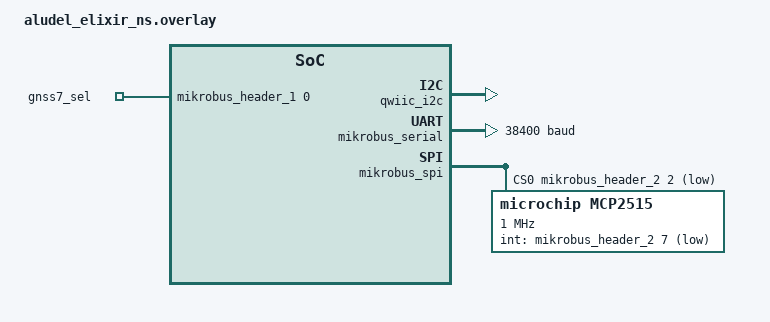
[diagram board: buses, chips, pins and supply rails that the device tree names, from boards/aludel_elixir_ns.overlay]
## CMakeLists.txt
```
# SPDX-License-Identifier: Apache-2.0

cmake_minimum_required(VERSION 3.20.0)

if((BOARD STREQUAL nrf9160dk_nrf9160) OR (BOARD STREQUAL nrf9160dk_nrf9160_ns))
  set(SHIELD "arduino_uno_click")
endif()

find_package(Zephyr REQUIRED HINTS $ENV{ZEPHYR_BASE})

project(can_asset_tracker)

include_directories(src/lib/inc)
add_compile_definitions(timegm=mktime)
target_sources(app PRIVATE src/lib/minmea/minmea.c)

target_sources(app PRIVATE src/main.c)
target_sources(app PRIVATE src/app_rpc.c)
target_sources(app PRIVATE src/app_settings.c)
target_sources(app PRIVATE src/app_state.c)
target_sources(app PRIVATE src/app_sensors.c)
target_sources(app PRIVATE src/app_wdt.c)

add_subdirectory_ifdef(CONFIG_ALUDEL_BATTERY_MONITOR src/battery_monitor)
```

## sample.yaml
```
# SPDX-License-Identifier: Apache-2.0

sample:
  description: Golioth Reference Design - CAN Asset Tracker
  name: can_asset_tracker
common:
  harness: net
  platform_allow: >
    nrf9160dk_nrf9160_ns
  tags: golioth
```

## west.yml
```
# SPDX-License-Identifier: Apache-2.0

manifest:
  version: 0.8

  projects:
    - name: golioth
      path: modules/lib/golioth-firmware-sdk
      revision: v0.14.0
      url: https://github.com/golioth/golioth-firmware-sdk.git
      west-commands: scripts/west-commands.yml
      submodules: true
      import:
        file: west-ncs.yml
        path-prefix: deps
        name-allowlist:
          - nrf
          - zephyr
          - cmsis
          - hal_nordic
          - mbedtls
          - mbedtls-nrf
          - mcuboot
          - net-tools
          - nrfxlib
          - segger
          - qcbor
          - tfm-mcuboot
          - tinycrypt
          - trusted-firmware-m
          - zcbor

    - name: golioth-zephyr-boards
      path: deps/modules/lib/golioth-boards
      revision: v1.1.1
      url: https://github.com/golioth/golioth-zephyr-boards

    - name: libostentus
      path: deps/modules/lib/libostentus
      revision: v1.0.0
      url: https://github.com/golioth/libostentus

    - name: zephyr-network-info
      path: deps/modules/lib/network-info
      revision: v1.1.1
      url: https://github.com/golioth/zephyr-network-info

    - name: minmea
      path: app/src/lib/minmea
      revision: 85439b97dd4984c5efb84ce954b85088e781dae8
      url: https://github.com/kosma/minmea.git

  self:
    path: app
```

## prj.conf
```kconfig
# Copyright (c) 2024 Modz, Inc.
# SPDX-License-Identifier: Apache-2.0

# Enable Golioth Firmware SDK
CONFIG_GOLIOTH_FIRMWARE_SDK=y

# Golioth services used in this app
CONFIG_GOLIOTH_FW_UPDATE=y
CONFIG_GOLIOTH_LIGHTDB_STATE=y
CONFIG_LOG_BACKEND_GOLIOTH=y
CONFIG_GOLIOTH_RPC=y
CONFIG_GOLIOTH_SETTINGS=y
CONFIG_GOLIOTH_STREAM=y

# Prevent a "loop of doom" issue on marginal/flaky LTE connections causing
# repeated "Resending request" warning log messages to be sent.
CONFIG_GOLIOTH_LOG_LEVEL_ERR=n

# Enable common sample library
CONFIG_GOLIOTH_SAMPLE_COMMON=y

# Configure Golioth SDK dependencies
CONFIG_EVENTFD_MAX=14
CONFIG_LOG_PROCESS_THREAD_STACK_SIZE=1536
CONFIG_MBEDTLS_ENABLE_HEAP=y
CONFIG_MBEDTLS_HEAP_SIZE=10240
CONFIG_MBEDTLS_SSL_IN_CONTENT_LEN=2048
CONFIG_MBEDTLS_SSL_OUT_CONTENT_LEN=2048
CONFIG_NETWORKING=y
CONFIG_NET_IPV4=y
CONFIG_POSIX_MAX_FDS=23

# Application
CONFIG_MAIN_STACK_SIZE=2048
CONFIG_SYSTEM_WORKQUEUE_STACK_SIZE=2048
CONFIG_NET_LOG=n
CONFIG_NET_SHELL=y
CONFIG_REBOOT=y

# Flash memory (etc.) for firmware upgrade
CONFIG_FLASH=y
CONFIG_FLASH_MAP=y
CONFIG_NVS=y
CONFIG_STREAM_FLASH=y
CONFIG_IMG_MANAGER=y
CONFIG_IMG_ERASE_PROGRESSIVELY=y
CONFIG_REBOOT=y

# Watchdog
CONFIG_WDT_LOG_LEVEL_DBG=y
CONFIG_WATCHDOG=y
CONFIG_WDT_DISABLE_AT_BOOT=n

# The rest of the runtime credentials config
#CONFIG_SETTINGS=y
#CONFIG_SETTINGS_RUNTIME=y

# Golioth Credentials
#CONFIG_GOLIOTH_PSK_MAX_LEN=128
CONFIG_GOLIOTH_SAMPLE_SETTINGS=n
CONFIG_GOLIOTH_SAMPLE_AUTH_TYPE_PSK=y
CONFIG_GOLIOTH_SAMPLE_HARDCODED_CREDENTIALS=y
CONFIG_GOLIOTH_SAMPLE_SETTINGS_AUTOLOAD=y
CONFIG_GOLIOTH_SAMPLE_SETTINGS_SHELL=y
CONFIG_GOLIOTH_SAMPLE_PSK_SETTINGS=y
CONFIG_GOLIOTH_SAMPLE_PSK_MAX_LEN=64
CONFIG_GOLIOTH_SAMPLE_PSK_ID_MAX_LEN=64
CONFIG_GOLIOTH_SAMPLE_PSK_ID="20241018190738-nrf9016@nordic_demo"
CONFIG_GOLIOTH_SAMPLE_PSK="b97d91cc08619fb72584b9858b40fad4"


CONFIG_GOLIOTH_AUTO_LOG_TO_CLOUD=y
CONFIG_GOLIOTH_COAP_REQUEST_QUEUE_MAX_ITEMS=20

CONFIG_MODEM_INFO=y
#CONFIG_MODEM_CELLULAR_APN="vzwinternet"


# Misc.
CONFIG_JSON_LIBRARY=y
CONFIG_NETWORK_INFO=y
# Longer response length needed for network info
CONFIG_GOLIOTH_RPC_MAX_RESPONSE_LEN=512
CONFIG_I2C=y
CONFIG_GPIO=y

# CAN interface
CONFIG_SERIAL=y
CONFIG_UART_INTERRUPT_DRIVEN=y
CONFIG_CAN=y

# Logging
CONFIG_LOG=y
CONFIG_LOG_BUFFER_SIZE=1024
CONFIG_LOG_DEFAULT_LEVEL=3
#CONFIG_CAN_LOG_LEVEL_DBG=y
#CONFIG_LTE_LINK_CONTROL_LOG_LEVEL_DBG=y

# Firmware version used in DFU process
CONFIG_MCUBOOT_IMGTOOL_SIGN_VERSION="1.7.0"
```

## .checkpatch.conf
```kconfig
# SPDX-License-Identifier: Apache-2.0

--emacs
--summary-file
--show-types
--max-line-length=100
--min-conf-desc-length=1
--typedefsfile=../deps/zephyr/scripts/checkpatch/typedefsfile

--ignore BRACES
--ignore PRINTK_WITHOUT_KERN_LEVEL
--ignore SPLIT_STRING
--ignore VOLATILE
--ignore CONFIG_EXPERIMENTAL
--ignore PREFER_KERNEL_TYPES
--ignore PREFER_SECTION
--ignore AVOID_EXTERNS
--ignore NETWORKING_BLOCK_COMMENT_STYLE
--ignore DATE_TIME
--ignore MINMAX
--ignore CONST_STRUCT
--ignore FILE_PATH_CHANGES
--ignore SPDX_LICENSE_TAG
--ignore C99_COMMENT_TOLERANCE
--ignore REPEATED_WORD
--ignore UNDOCUMENTED_DT_STRING
--ignore DT_SPLIT_BINDING_PATCH
--ignore DT_SCHEMA_BINDING_PATCH
--ignore TRAILING_SEMICOLON
--ignore COMPLEX_MACRO
--ignore MULTISTATEMENT_MACRO_USE_DO_WHILE
--ignore ENOSYS

--no-tree
--exclude patches
```

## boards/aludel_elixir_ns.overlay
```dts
/*
 * Copyright (c) 2024 Golioth, Inc.
 *
 * SPDX-License-Identifier: Apache-2.0
 */

/ {
	chosen {
		zephyr,canbus = &mcp2515;
	};

	aliases {
		gnss7-sel = &gnss7_sel;
		click-uart = &mikrobus_serial;
	};

	gpio_logic {
		compatible = "gpio-leds";
		gnss7_sel: gnss7_sel {
			gpios = <&mikrobus_header_1 0 GPIO_ACTIVE_HIGH>; /* AN */
		};
	};
};

&qwiic_i2c {
	status = "okay";
};

&mikrobus_serial {
	status = "okay";
	current-speed = <38400>;
};

&mikrobus_spi {
	status = "okay";
	cs-gpios = <&mikrobus_header_2 2 GPIO_ACTIVE_LOW>;	/* CS */

	mcp2515: mcp2515@0 {
		compatible = "microchip,mcp2515";
		spi-max-frequency = <1000000>;
		int-gpios = <&mikrobus_header_2 7 GPIO_ACTIVE_LOW>; /* INT */
		status = "okay";
		reg = <0x0>;
		osc-freq = <10000000>;
		bus-speed = <250000>;
		sjw = <1>;
		sample-point = <875>;

		can-transceiver {
			max-bitrate = <1000000>;
		};
	};
};
```

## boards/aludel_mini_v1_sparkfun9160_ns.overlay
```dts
/*
 * Copyright (c) 2024 Golioth, Inc.
 *
 * SPDX-License-Identifier: Apache-2.0
 */

/ {
	chosen {
		zephyr,canbus = &mcp2515;
	};

	aliases {
		gnss7-sel = &gnss7_sel;
	};

	gpio_logic {
		compatible = "gpio-leds";
		gnss7_sel: gnss7_sel {
			gpios = <&mikrobus_header_1 0 GPIO_ACTIVE_HIGH>; /* AN */
		};
	};
};

&mikrobus_serial {
	status = "okay";
	current-speed = <38400>;
};

/*
 * In the devicetree definition for this board, the SPI bus on the Aludel Click
 * headers is connected to the SPI2 peripheral on the nRF9160. However, the
 * nRF9160 has a limitation that any peripherals sharing an ID and base address
 * may not be used simultaneously. Since the GPS Click module is using the
 * UART2 peripheral, the SPI2 peripheral cannot be used at the same time to
 * interface with the MCP2515 controller on the CAN Click board.
 *
 * As a workaround, we can disable the SPI2 peripheral and remap the SPI pins on
 * the Click headers to the SPI3 peripheral instead. However, the SPI3
 * peripheral is connected to the external W25Q32JV NOR flash on this board.
 * Since we're not using the external NOR flash in this reference design, we
 * can simply delete the w25q32jv node from the devicetree to free up the SPI3
 * peripheral to be remapped to the Click header pins.
 */

&spi2 {
	status = "disabled";
};

/delete-node/ &w25q32jv;

&spi3 {
	cs-gpios = <&mikrobus_header_2 2 GPIO_ACTIVE_LOW>; /* CS */

	mcp2515: mcp2515@0 {
		compatible = "microchip,mcp2515";
		spi-max-frequency = <1000000>;
		int-gpios = <&mikrobus_header_2 7 GPIO_ACTIVE_LOW>; /* INT */
		status = "okay";
		reg = <0x0>;
		osc-freq = <10000000>;
		bus-speed = <250000>;
		sjw = <1>;
		sample-point = <875>;

		can-transceiver {
			max-bitrate = <1000000>;
		};
	};
};

&pinctrl {
	spi3_default: spi3_default {
		group1 {
			psels = <NRF_PSEL(SPIM_SCK, 0, 19)>,
				<NRF_PSEL(SPIM_MOSI, 0, 21)>,
				<NRF_PSEL(SPIM_MISO, 0, 22)>;
		};
	};

	spi3_sleep: spi3_sleep {
		group1 {
			psels = <NRF_PSEL(SPIM_SCK, 0, 19)>,
				<NRF_PSEL(SPIM_MOSI, 0, 21)>,
				<NRF_PSEL(SPIM_MISO, 0, 22)>;
			low-power-enable;
		};
	};
};
```

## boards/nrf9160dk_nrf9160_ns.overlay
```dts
/*
 * Copyright (c) 2024 Golioth, Inc.
 *
 * SPDX-License-Identifier: Apache-2.0
 */

/ {
	chosen {
		zephyr,canbus = &mcp2515;
	};

	aliases {
		golioth-led = &led2;
		click-uart = &arduino_serial;
		gnss7-sel = &gnss7_sel;
	};

	gpio_logic {
		compatible = "gpio-leds";
		gnss7_sel: gnss7_sel {
			gpios = <&mikrobus_header_2 0 GPIO_ACTIVE_HIGH>; /* AN */
		};
	};
};

&mikrobus_serial {
	status = "okay";
	current-speed = <38400>;
};

&mikrobus_spi {
	status = "okay";
	cs-gpios = <&mikrobus_header_1 2 GPIO_ACTIVE_LOW>; /* CS */

	mcp2515: mcp2515@0 {
		compatible = "microchip,mcp2515";
		spi-max-frequency = <1000000>;
		int-gpios = <&mikrobus_header_1 7 GPIO_ACTIVE_LOW>; /* INT */
		status = "okay";
		reg = <0x0>;
		osc-freq = <10000000>;
		bus-speed = <250000>;
		sjw = <1>;
		sample-point = <875>;

		can-transceiver {
			max-bitrate = <1000000>;
		};
	};
};

&pinctrl {
	/*
	 * Arduino Uno provides the same SCL/SDA on two sets of pins, but the
	 * nRF9160-DK maps these pins to two different pairs of GPIO. When using
	 * the Arduino Uno Click Shield board, the P0.18/P0.19 pair must be used.
	 */
	i2c2_default: i2c2_default {
		group1 {
			psels = <NRF_PSEL(TWIM_SDA, 0, 18)>,
				<NRF_PSEL(TWIM_SCL, 0, 19)>;
		};
	};

	i2c2_sleep: i2c2_sleep {
		group1 {
			psels = <NRF_PSEL(TWIM_SDA, 0, 18)>,
				<NRF_PSEL(TWIM_SCL, 0, 19)>;
			low-power-enable;
		};
	};

	/*
	 * The default pin group includes RTS/CTS HW flow control, but the Arduino
	 * Uno Click Shield board does not connect these pins (only TX/RX are used).
	 * This keeps RX/TX on the same pins, but just removes RTS/CTS from the
	 * pin groups.
	 */
	uart1_default: uart1_default {
		group1 {
			psels = <NRF_PSEL(UART_TX, 0, 1)>,
				<NRF_PSEL(UART_RX, 0, 0)>;
		};
	};

	uart1_sleep: uart1_sleep {
		group1 {
			psels = <NRF_PSEL(UART_TX, 0, 1)>,
				<NRF_PSEL(UART_RX, 0, 0)>;
			low-power-enable;
		};
	};
};
```

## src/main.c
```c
/* Copyright (c) 2024 Modz, Inc.
 *
 * SPDX-License-Identifier: Apache-2.0
 */

#include <zephyr/logging/log.h>
LOG_MODULE_REGISTER(golioth_can_asset_tracker, LOG_LEVEL_DBG);

#include "app_rpc.h"
#include "app_settings.h"
#include "app_state.h"
#include "app_sensors.h"
#include "app_wdt.h"
#include <golioth/client.h>
#include <golioth/fw_update.h>
#include <samples/common/net_connect.h>
#include <samples/common/sample_credentials.h>
#include <zephyr/kernel.h>
#include <hal/nrf_power.h>


#ifdef CONFIG_SOC_NRF9160
#include <modem/lte_lc.h>
#endif
#ifdef CONFIG_LIB_OSTENTUS
#include <libostentus.h>
#endif
#ifdef CONFIG_ALUDEL_BATTERY_MONITOR
#include "battery_monitor/battery.h"
#endif

#include <zephyr/drivers/gpio.h>

#ifdef CONFIG_MODEM_INFO
#include <modem/modem_info.h>
#endif

/* Current firmware version; update in prj.conf or via build argument */
static const char *_current_version = CONFIG_MCUBOOT_IMGTOOL_SIGN_VERSION;

static struct golioth_client *client;
K_SEM_DEFINE(connected, 0, 1);

static k_tid_t _system_thread = 0;

#if DT_NODE_EXISTS(DT_ALIAS(golioth_led))
static const struct gpio_dt_spec golioth_led = GPIO_DT_SPEC_GET(DT_ALIAS(golioth_led), gpios);
#endif /* DT_NODE_EXISTS(DT_ALIAS(golioth_led)) */
static const struct gpio_dt_spec user_btn = GPIO_DT_SPEC_GET(DT_ALIAS(sw1), gpios);
static struct gpio_callback button_cb_data;

/* forward declarations */
void golioth_connection_led_set(uint8_t state);

void wake_system_thread(void)
{
	k_wakeup(_system_thread);
}

static void on_client_event(struct golioth_client *client, enum golioth_client_event event,
			    void *arg)
{
	bool is_connected = (event == GOLIOTH_CLIENT_EVENT_CONNECTED);

	if (is_connected) {
		k_sem_give(&connected);
		golioth_connection_led_set(1);
	}
	LOG_INF("Golioth client %s", is_connected ? "connected" : "disconnected");
}

static void start_golioth_client(void)
{
	/* Get the client configuration from auto-loaded settings */
	const struct golioth_client_config *client_config = golioth_sample_credentials_get();

	/* Create and start a Golioth Client */
	client = golioth_client_create(client_config);

	/* Register Golioth on_connect callback */
	golioth_client_register_event_callback(client, on_client_event, NULL);

	/* Initialize DFU components */
	golioth_fw_update_init(client, _current_version);

	/*** Call Golioth APIs for other services in dedicated app files ***/

	/* Observe State service data */
	app_state_observe(client);

	/* Set Golioth Client for streaming sensor data */
	app_sensors_set_client(client);

	/* Register Settings service */
	app_settings_register(client);

	/* Register RPC service */
	app_rpc_register(client);
}

#ifdef CONFIG_SOC_NRF9160

static void lte_handler(const struct lte_lc_evt *const evt)
{
	LOG_INF("LTE event: %d", evt->type);
	switch (evt->type) {
	case LTE_LC_EVT_MODEM_EVENT:
		LOG_INF("Modem event: %d", evt->modem_evt);
		break;

	case LTE_LC_EVT_LTE_MODE_UPDATE:
		LOG_INF("LTE mode update: %d", evt->lte_mode);
		break;

	case LTE_LC_EVT_NW_REG_STATUS:
		LOG_INF("Network registration status: %d", evt->nw_reg_status);
		if ((evt->nw_reg_status == LTE_LC_NW_REG_REGISTERED_HOME) ||
		    (evt->nw_reg_status == LTE_LC_NW_REG_REGISTERED_ROAMING)) {

			/* Change the state of the Internet LED on Ostentus */
			IF_ENABLED(CONFIG_LIB_OSTENTUS, (led_internet_set(1);));

			if (!client) {
				/* Create and start a Golioth Client */
				start_golioth_client();
			}
		}
		break;

	default:
		break;
	}
}

#endif /* CONFIG_SOC_NRF9160 */

#ifdef CONFIG_MODEM_INFO
static void log_modem_firmware_version(void)
{
	char sbuf[128];

	/* Initialize modem info */
	int err = modem_info_init();

	if (err) {
		LOG_ERR("Failed to initialize modem info: %d", err);
	}

	/* Log modem firmware version */
	modem_info_string_get(MODEM_INFO_FW_VERSION, sbuf, sizeof(sbuf));
	LOG_INF("Modem firmware version: %s", sbuf);
}
#endif

void button_pressed(const struct device *dev, struct gpio_callback *cb, uint32_t pins)
{
	LOG_DBG("Button pressed at %d", k_cycle_get_32());
	/* This function is an Interrupt Service Routine. Do not call functions that
	 * use other threads, or perform long-running operations here
	 */
	k_wakeup(_system_thread);
}


/* Set (unset) LED indicators for active Golioth connection */
void golioth_connection_led_set(uint8_t state)
{
	uint8_t pin_state = state ? 1 : 0;
#if DT_NODE_EXISTS(DT_ALIAS(golioth_led))
	/* Turn on Golioth logo LED once connected */
	gpio_pin_set_dt(&golioth_led, pin_state);
#endif /* DT_NODE_EXISTS(DT_ALIAS(golioth_led)) */
	/* Change the state of the Golioth LED on Ostentus */
	IF_ENABLED(CONFIG_LIB_OSTENTUS, (led_golioth_set(pin_state);));
}

int main(void)
{
	int err;

	/*uint32_t reset_reason = nrf_power_resetreas_get(NRF_POWER);
	LOG_WRN("Reboot reason: %ld", reset_reason);
	if (reset_reason & NRF_POWER_RESETREAS_DOG_MASK ) {
		LOG_WRN("Wake up by DOG field detect\n");
	} else if (reset_reason & NRF_POWER_RESETREAS_RESETPIN_MASK) {
		LOG_WRN("Reset by pin-reset\n");
	} else if (reset_reason & NRF_POWER_RESETREAS_SREQ_MASK) {
		LOG_WRN("Reset by soft-reset\n");
	} else if (reset_reason & NRF_POWER_RESETREAS_LOCKUP_MASK ) {
		LOG_WRN("Reset by lockup\n");
	} else if (reset_reason) {
		LOG_WRN("Reset by a different source (0x%08X)\n", reset_reason);
	} else {
		LOG_WRN("Power-on-reset\n");
	}
	nrf_power_resetreas_clear(NRF_POWER, reset_reason);*/

	/* Initialize watchdog */
	app_wdt_init();

	/* Initialize sensors */
	app_sensors_init();

	LOG_DBG("Started CAN Asset Tracker app");

	LOG_INF("Firmware version: %s", CONFIG_MCUBOOT_IMGTOOL_SIGN_VERSION);
	IF_ENABLED(CONFIG_MODEM_INFO, (log_modem_firmware_version();));

	IF_ENABLED(CONFIG_LIB_OSTENTUS, (
		/* Clear Ostentus memory */
		clear_memory();
		/* Update Ostentus LEDS using bitmask (Power On and Battery) */
		led_bitmask(LED_POW | LED_BAT);
		/* Show Golioth Logo on Ostentus ePaper screen */
		show_splash();
	));

	/* Get system thread id so loop delay change event can wake main */
	_system_thread = k_current_get();

#if DT_NODE_EXISTS(DT_ALIAS(golioth_led))
	/* Initialize Golioth logo LED */
	err = gpio_pin_configure_dt(&golioth_led, GPIO_OUTPUT_INACTIVE);
	if (err) {
		LOG_ERR("Unable to configure LED for Golioth Logo");
	}
#endif /* DT_NODE_EXISTS(DT_ALIAS(golioth_led)) */

#ifdef CONFIG_SOC_NRF9160
	/* Start LTE asynchronously if the nRF9160 is used.
	 * Golioth Client will start automatically when LTE connects
	 */

	LOG_INF("Connecting to LTE, this may take some time...");
	lte_lc_init_and_connect_async(lte_handler);

#else
	/* If nRF9160 is not used, start the Golioth Client and block until connected */

	/* Run WiFi/DHCP if necessary */
	if (IS_ENABLED(CONFIG_GOLIOTH_SAMPLE_COMMON)) {
		net_connect();
	}

	/* Start Golioth client */
	start_golioth_client();

#endif /* CONFIG_SOC_NRF9160 */

	/* Block until connected to Golioth */
	k_sem_take(&connected, K_FOREVER);
	/* Set up user button */
	err = gpio_pin_configure_dt(&user_btn, GPIO_INPUT);
	if (err) {
		LOG_ERR("Error %d: failed to configure %s pin %d", err, user_btn.port->name,
			user_btn.pin);
		return err;
	}

	err = gpio_pin_interrupt_configure_dt(&user_btn, GPIO_INT_EDGE_TO_ACTIVE);
	if (err) {
		LOG_ERR("Error %d: failed to configure interrupt on %s pin %d", err,
			user_btn.port->name, user_btn.pin);
		return err;
	}

	gpio_init_callback(&button_cb_data, button_pressed, BIT(user_btn.pin));
	gpio_add_callback(user_btn.port, &button_cb_data);

	IF_ENABLED(CONFIG_LIB_OSTENTUS, (
		/* Set up a slideshow on Ostentus
		 *  - add up to 256 slides
		 *  - use the enum in app_sensors.h to add new keys
		 *  - values are updated using these keys (see app_sensors.c)
		 */
		slide_add(LATITUDE, LABEL_LATITUDE, strlen(LABEL_LATITUDE));
		slide_add(LONGITUDE, LABEL_LONGITUDE, strlen(LABEL_LONGITUDE));
		slide_add(VEHICLE_SPEED, LABEL_VEHICLE_SPEED, strlen(LABEL_VEHICLE_SPEED));
		IF_ENABLED(CONFIG_ALUDEL_BATTERY_MONITOR, (
			slide_add(BATTERY_V, LABEL_BATTERY, strlen(LABEL_BATTERY));
			slide_add(BATTERY_LVL, LABEL_BATTERY, strlen(LABEL_BATTERY));
		));
		slide_add(FIRMWARE, LABEL_FIRMWARE, strlen(LABEL_FIRMWARE));

		/* Set the title of the Ostentus summary slide (optional) */
		summary_title(SUMMARY_TITLE, strlen(SUMMARY_TITLE));

		/* Update the Firmware slide with the firmware version */
		slide_set(FIRMWARE, CONFIG_MCUBOOT_IMGTOOL_SIGN_VERSION,
			  strlen(CONFIG_MCUBOOT_IMGTOOL_SIGN_VERSION));

		/* Start Ostentus slideshow with 30 second delay between slides */
		slideshow(30000);
	));

	while (true) {
		app_sensors_read_and_stream();
		app_wdt_feed();

		k_sleep(K_SECONDS(get_loop_delay_s()));
	}
}
```

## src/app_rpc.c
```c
/*
 * Copyright (c) 2024 Modz Inc.
 *
 * SPDX-License-Identifier: Apache-2.0
 */

#include <zephyr/logging/log.h>
#include <zephyr/logging/log_ctrl.h>
LOG_MODULE_REGISTER(app_rpc, LOG_LEVEL_DBG);

#include <golioth/client.h>
#include <golioth/rpc.h>
#include <zephyr/sys/reboot.h>

#include <network_info.h>
#include "app_rpc.h"

static void reboot_work_handler(struct k_work *work)
{
	for (int8_t i = 5; i >= 0; i--) {
		if (i) {
			LOG_INF("Rebooting in %d seconds...", i);
		}
		k_sleep(K_SECONDS(1));
	}

	/* Sync logs before reboot */
	LOG_PANIC();

	sys_reboot(SYS_REBOOT_COLD);
}
K_WORK_DEFINE(reboot_work, reboot_work_handler);

static enum golioth_rpc_status on_get_network_info(zcbor_state_t *request_params_array,
						   zcbor_state_t *response_detail_map,
						   void *callback_arg)
{
	network_info_add_to_map(response_detail_map);

	return GOLIOTH_RPC_OK;
}

static enum golioth_rpc_status on_set_log_level(zcbor_state_t *request_params_array,
						zcbor_state_t *response_detail_map,
						void *callback_arg)
{
	double param_0;
	uint8_t log_level;
	bool ok;

	LOG_WRN("on_set_log_level");

	ok = zcbor_float_decode(request_params_array, &param_0);
	if (!ok) {
		LOG_ERR("Failed to decode array item");
		return GOLIOTH_RPC_INVALID_ARGUMENT;
	}

	log_level = (uint8_t)param_0;

	if ((log_level < 0) || (log_level > LOG_LEVEL_DBG)) {

		LOG_ERR("Requested log level is out of bounds: %d", log_level);
		return GOLIOTH_RPC_INVALID_ARGUMENT;
	}

	int source_id = 0;
	char *source_name;

	while (1) {
		source_name = (char *)log_source_name_get(0, source_id);
		if (source_name == NULL) {
			break;
		}

		log_filter_set(NULL, 0, source_id, log_level);
		++source_id;
	}

	LOG_WRN("Log levels for %d modules set to: %d", source_id, log_level);

	ok = zcbor_tstr_put_lit(response_detail_map, "log_modules") &&
	     zcbor_float64_put(response_detail_map, (double)source_id);

	return GOLIOTH_RPC_OK;
}

static enum golioth_rpc_status on_reboot(zcbor_state_t *request_params_array,
					 zcbor_state_t *response_detail_map,
					 void *callback_arg)
{
	/* Use work queue so this RPC can return confirmation to Golioth */
	k_work_submit(&reboot_work);

	return GOLIOTH_RPC_OK;
}

static void rpc_log_if_register_failure(int err)
{
	if (err) {
		LOG_ERR("Failed to register RPC: %d", err);
	}
}

void app_rpc_register(struct golioth_client *client)
{
	struct golioth_rpc *rpc = golioth_rpc_init(client);

	int err;

	err = golioth_rpc_register(rpc, "get_network_info", on_get_network_info, NULL);
	rpc_log_if_register_failure(err);

	err = golioth_rpc_register(rpc, "reboot", on_reboot, NULL);
	rpc_log_if_register_failure(err);

	err = golioth_rpc_register(rpc, "set_log_level", on_set_log_level, NULL);
	rpc_log_if_register_failure(err);
}
```

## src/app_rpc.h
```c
/*
 * Copyright (c) 2024 Modz, Inc.
 *
 * SPDX-License-Identifier: Apache-2.0
 */

/**
 * Handle remote procedure calls received from Golioth, returning a status code
 * indicating the success or failure of the call.
 *
 * https://docs.golioth.io/firmware/zephyr-device-sdk/remote-procedure-call
 */

#ifndef __APP_RPC_H__
#define __APP_RPC_H__

#include <golioth/client.h>

void app_rpc_register(struct golioth_client *client);

#endif /* __APP_RPC_H__ */
```

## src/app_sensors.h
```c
/*
 * Copyright (c) 2024 Modz, Inc.
 *
 * SPDX-License-Identifier: Apache-2.0
 */

#ifndef __APP_SENSORS_H__
#define __APP_SENSORS_H__

/** The `app_sensors.c` file performs the important work of this application
 * which is to read sensor values and report them to the Golioth LightDB Stream
 * as time-series data.
 *
 * https://docs.golioth.io/firmware/zephyr-device-sdk/light-db-stream/
 */

#include <golioth/client.h>

void app_sensors_set_client(struct golioth_client *sensors_client);
void app_sensors_read_and_stream(void);
void app_sensors_init(void);

#define LABEL_LATITUDE	    "Latitude"
#define LABEL_LONGITUDE	    "Longitude"
#define LABEL_VEHICLE_SPEED "Speed"
#define LABEL_BATTERY	    "Battery"
#define LABEL_FIRMWARE	    "Firmware"
#define SUMMARY_TITLE	    "Asset Tracker"

/**
 * Each Ostentus slide needs a unique key. You may add additional slides by
 * inserting elements with the name of your choice to this enum.
 */
typedef enum {
	LATITUDE,
	LONGITUDE,
	VEHICLE_SPEED,
#ifdef CONFIG_ALUDEL_BATTERY_MONITOR
	BATTERY_V,
	BATTERY_LVL,
#endif
	FIRMWARE
} slide_key;

#endif /* __APP_SENSORS_H__ */
```

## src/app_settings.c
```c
/*
 * Copyright (c) 2024 Modz, Inc.
 *
 * SPDX-License-Identifier: Apache-2.0
 */

#include <zephyr/logging/log.h>
LOG_MODULE_REGISTER(app_settings, LOG_LEVEL_DBG);

#include <golioth/client.h>
#include <golioth/settings.h>
#include "main.h"
#include "app_settings.h"

/* How long to wait between uploading to Golioth */
static int32_t _loop_delay_s = 5;
#define LOOP_DELAY_S_MAX 43200
#define LOOP_DELAY_S_MIN 0

/* How long to wait between GPS readings */
static int32_t _gps_delay_s = 3;
#define GPS_DELAY_S_MAX 43200
#define GPS_DELAY_S_MIN 0

/* Fake GPS control */
static bool _fake_gps_enabled_s;

/* Fake GPS latitude value */
static float _fake_gps_latitude_s = 37.789980;
#define FAKE_GPS_LATITUDE_S_MAX 90.0
#define FAKE_GPS_LATITUDE_S_MIN -90.0

/* Fake GPS longitude value */
static float _fake_gps_longitude_s = -122.400860;
#define FAKE_GPS_LONGITUDE_S_MAX 180.0
#define FAKE_GPS_LONGITUDE_S_MIN -180.0

/* How long to wait between vehicle speed readings */
static int32_t _vehicle_speed_delay_s = 1;
#define VEHICLE_SPEED_DELAY_S_MAX 43200
#define VEHICLE_SPEED_DELAY_S_MIN 0

int32_t get_loop_delay_s(void)
{
	return _loop_delay_s;
}

int32_t get_gps_delay_s(void)
{
	return _gps_delay_s;
}

bool get_fake_gps_enabled_s(void)
{
	return _fake_gps_enabled_s;
}

float get_fake_gps_latitude_s(void)
{
	return _fake_gps_latitude_s;
}

float get_fake_gps_longitude_s(void)
{
	return _fake_gps_longitude_s;
}

int32_t get_vehicle_speed_delay_s(void)
{
	return _vehicle_speed_delay_s;
}

static enum golioth_settings_status on_loop_delay_setting(int32_t new_value, void *arg)
{
	_loop_delay_s = new_value;
	LOG_INF("Set loop delay to %i seconds", new_value);
	wake_system_thread();
	return GOLIOTH_SETTINGS_SUCCESS;
}

static enum golioth_settings_status on_gps_delay_setting(int32_t new_value, void *arg)
{
	_gps_delay_s = new_value;
	LOG_INF("Set GPS delay to %i seconds", new_value);
	return GOLIOTH_SETTINGS_SUCCESS;
}

static enum golioth_settings_status on_fake_gps_enabled_setting(bool new_value, void *arg)
{
	_fake_gps_enabled_s = new_value;
	LOG_INF("Enable fake GPS location: %s", new_value ? "true" : "false");
	return GOLIOTH_SETTINGS_SUCCESS;
}

static enum golioth_settings_status on_fake_gps_latitude_setting(float new_value, void *arg)
{
	if ((new_value < FAKE_GPS_LATITUDE_S_MIN) || (new_value > FAKE_GPS_LATITUDE_S_MAX)) {
		LOG_ERR("Invalid fake GPS latitude: %.5f", new_value);
		return GOLIOTH_SETTINGS_VALUE_OUTSIDE_RANGE;
	}
	_fake_gps_latitude_s = new_value;
	LOG_INF("Set fake GPS latitude to %.5f degrees", new_value);
	return GOLIOTH_SETTINGS_SUCCESS;
}

static enum golioth_settings_status on_fake_gps_longitude_setting(float new_value, void *arg)
{
	if ((new_value < FAKE_GPS_LONGITUDE_S_MIN) || (new_value > FAKE_GPS_LONGITUDE_S_MAX)) {
		LOG_ERR("Invalid fake GPS longitude: %.5f", new_value);
		return GOLIOTH_SETTINGS_VALUE_OUTSIDE_RANGE;
	}
	_fake_gps_longitude_s = new_value;
	LOG_INF("Set fake GPS longitude to %.5f degrees", new_value);
	return GOLIOTH_SETTINGS_SUCCESS;
}

static enum golioth_settings_status on_vehicle_speed_delay_setting(int32_t new_value, void *arg)
{
	_vehicle_speed_delay_s = new_value;
	LOG_INF("Set vehicle speed delay to %i seconds", new_value);
	return GOLIOTH_SETTINGS_SUCCESS;
}

void app_settings_register(struct golioth_client *client)
{
	int err;
	struct golioth_settings *settings = golioth_settings_init(client);

	err = golioth_settings_register_int_with_range(settings, "LOOP_DELAY_S", LOOP_DELAY_S_MIN,
						       LOOP_DELAY_S_MAX, on_loop_delay_setting,
						       NULL);
	if (err) {
		LOG_ERR("Failed to register on_loop_delay_setting callback: %d", err);
	}

	err = golioth_settings_register_int_with_range(settings, "GPS_DELAY_S", GPS_DELAY_S_MIN,
						       GPS_DELAY_S_MAX, on_gps_delay_setting, NULL);
	if (err) {
		LOG_ERR("Failed to register on_gps_delay_setting callback: %d", err);
	}

	err = golioth_settings_register_bool(settings, "FAKE_GPS_ENABLED",
					     on_fake_gps_enabled_setting, NULL);
	if (err) {
		LOG_ERR("Failed to register on_fake_gps_enabled_setting callback: %d", err);
	}

	err = golioth_settings_register_float(settings, "FAKE_GPS_LATITUDE",
					      on_fake_gps_latitude_setting, NULL);
	if (err) {
		LOG_ERR("Failed to register on_fake_gps_latitude_setting callback: %d", err);
	}

	err = golioth_settings_register_float(settings, "FAKE_GPS_LONGITUDE",
					      on_fake_gps_longitude_setting, NULL);
	if (err) {
		LOG_ERR("Failed to register on_fake_gps_longitude_setting callback: %d", err);
	}

	err = golioth_settings_register_int_with_range(
		settings, "VEHICLE_SPEED_DELAY_S", VEHICLE_SPEED_DELAY_S_MIN,
		VEHICLE_SPEED_DELAY_S_MAX, on_vehicle_speed_delay_setting, NULL);
	if (err) {
		LOG_ERR("Failed to register on_vehicle_speed_delay_setting callback: %d", err);
	}
}
```

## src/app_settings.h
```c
/*
 * Copyright (c) 2024 Modz, Inc.
 *
 * SPDX-License-Identifier: Apache-2.0
 */

/**
 * Process changes received from the Golioth Settings Service and return a code
 * to Golioth to indicate the success or failure of the update.
 *
 * https://docs.golioth.io/firmware/zephyr-device-sdk/device-settings-service
 */

#ifndef __APP_SETTINGS_H__
#define __APP_SETTINGS_H__

#include <stdint.h>
#include <golioth/client.h>

int32_t get_loop_delay_s(void);
void app_settings_register(struct golioth_client *client);
int32_t get_gps_delay_s(void);
bool get_fake_gps_enabled_s(void);
float get_fake_gps_latitude_s(void);
float get_fake_gps_longitude_s(void);
int32_t get_vehicle_speed_delay_s(void);

#endif /* __APP_SETTINGS_H__ */
```

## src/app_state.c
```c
/*
 * Copyright (c) 2024 Modz, Inc.
 *
 * SPDX-License-Identifier: Apache-2.0
 */

#include <zephyr/logging/log.h>
LOG_MODULE_REGISTER(app_state, LOG_LEVEL_DBG);

#include <golioth/client.h>
#include <golioth/lightdb_state.h>
#include <zephyr/data/json.h>
#include <zephyr/kernel.h>
#include "json_helper.h"

#include "app_state.h"
#include "app_sensors.h"

#define DEVICE_STATE_FMT "{\"example_int0\":%d,\"example_int1\":%d}"

uint32_t _example_int0;
uint32_t _example_int1 = 1;

static struct golioth_client *client;

static void async_handler(struct golioth_client *client,
				       const struct golioth_response *response,
				       const char *path,
				       void *arg)
{
	if (response->status != GOLIOTH_OK) {
		LOG_WRN("Failed to set state: %d", response->status);
		return;
	}

	LOG_DBG("State successfully set");
}

int app_state_reset_desired(void)
{
	LOG_INF("Resetting \"%s\" LightDB State endpoint to defaults.", APP_STATE_DESIRED_ENDP);

	char sbuf[sizeof(DEVICE_STATE_FMT) + 4]; /* space for two "-1" values */

	snprintk(sbuf, sizeof(sbuf), DEVICE_STATE_FMT, -1, -1);

	int err;
	err = golioth_lightdb_set_async(client,
					APP_STATE_DESIRED_ENDP,
					GOLIOTH_CONTENT_TYPE_JSON,
					sbuf,
					strlen(sbuf),
					async_handler,
					NULL);
	if (err) {
		LOG_ERR("Unable to write to LightDB State: %d", err);
	}
	return err;
}

int app_state_update_actual(void)
{

	char sbuf[sizeof(DEVICE_STATE_FMT) + 10]; /* space for uint16 values */

	snprintk(sbuf, sizeof(sbuf), DEVICE_STATE_FMT, _example_int0, _example_int1);

	int err;

	err = golioth_lightdb_set_async(client,
					APP_STATE_ACTUAL_ENDP,
					GOLIOTH_CONTENT_TYPE_JSON,
					sbuf,
					strlen(sbuf),
					async_handler,
					NULL);

	if (err) {
		LOG_ERR("Unable to write to LightDB State: %d", err);
	}
	return err;
}

static void app_state_desired_handler(struct golioth_client *client,
				      const struct golioth_response *response,
				      const char *path,
				      const uint8_t *payload,
				      size_t payload_size,
				      void *arg)
{
	int err = 0;
	int ret;

	if (response->status != GOLIOTH_OK) {
		LOG_ERR("Failed to receive '%s' endpoint: %d",
			APP_STATE_DESIRED_ENDP,
			response->status);
		return;
	}

	LOG_HEXDUMP_DBG(payload, payload_size, APP_STATE_DESIRED_ENDP);

	struct app_state parsed_state;

	ret = json_obj_parse((char *)payload, payload_size, app_state_descr,
			     ARRAY_SIZE(app_state_descr), &parsed_state);

	if (ret < 0) {
		LOG_ERR("Error parsing desired values: %d", ret);
		app_state_reset_desired();
		return;
	}

	uint8_t desired_processed_count = 0;
	uint8_t state_change_count = 0;

	if (ret & 1 << 0) {
		/* Process example_int0 */
		if ((parsed_state.example_int0 >= 0) && (parsed_state.example_int0 < 65536)) {
			LOG_DBG("Validated desired example_int0 value: %d",
				parsed_state.example_int0);
			if (_example_int0 != parsed_state.example_int0) {
				_example_int0 = parsed_state.example_int0;
				++state_change_count;
			}
			++desired_processed_count;
		} else if (parsed_state.example_int0 == -1) {
			LOG_DBG("No change requested for example_int0");
		} else {
			LOG_ERR("Invalid desired example_int0 value: %d",
				parsed_state.example_int0);
			++desired_processed_count;
		}
	}
	if (ret & 1 << 1) {
		/* Process example_int1 */
		if ((parsed_state.example_int1 >= 0) && (parsed_state.example_int1 < 65536)) {
			LOG_DBG("Validated desired example_int1 value: %d",
				parsed_state.example_int1);
			if (_example_int1 != parsed_state.example_int1) {
				_example_int1 = parsed_state.example_int1;
				++state_change_count;
			}
			++desired_processed_count;
		} else if (parsed_state.example_int1 == -1) {
			LOG_DBG("No change requested for example_int1");
		} else {
			LOG_ERR("Invalid desired example_int1 value: %d",
				parsed_state.example_int1);
			++desired_processed_count;
		}
	}

	if (state_change_count) {
		/* The state was changed, so update the state on the Golioth servers */
		err = app_state_update_actual();
	}
	if (desired_processed_count) {
		/* We processed some desired changes to return these to -1 on the server
		 * to indicate the desired values were received.
		 */
		err = app_state_reset_desired();
	}

	if (err) {
		LOG_ERR("Failed to update cloud state: %d", err);
	}
}

int app_state_observe(struct golioth_client *state_client)
{
	int err;

	client = state_client;

	err = golioth_lightdb_observe_async(client, APP_STATE_DESIRED_ENDP, GOLIOTH_CONTENT_TYPE_JSON,
						app_state_desired_handler, NULL);
	if (err) {
		LOG_WRN("failed to observe lightdb path: %d", err);
		return err;
	}

	/* This will only run once. It updates the actual state of the device
	 * with the Golioth servers. Future updates will be sent whenever
	 * changes occur.
	 */
	err = app_state_update_actual();

	return err;
}
```

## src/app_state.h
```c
/*
 * Copyright (c) 2024 Modz, Inc.
 *
 * SPDX-License-Identifier: Apache-2.0
 */

/** Observe and write to example endpoints for stateful data on the Golioth
 * LightDB State Service.
 *
 * This demonstration exhibits (the concept of Digital
 * Twin)[https://blog.golioth.io/better-iot-design-patterns-desired-state-vs-actual-state/].
 * It implements a _desired_ state which the cloud can set to request the device
 * change its state, and an _actual_ state where the device reports its state.
 *
 * After receiving and processing a desired state, the device will reset the
 * desired state (`APP_STATE_DESIRED_ENDP`) to `-1` indicating the data has been
 * processed, and update the actual state (`APP_STATE_ACTUAL_ENDP`) to report
 * the new state of the device.
 *
 * The device should write to the _actual state_ endpoint, the cloud should not.
 * By convention the cloud should consider the _actual state_ values read-only.
 *
 * https://docs.golioth.io/firmware/zephyr-device-sdk/light-db/
 */

#ifndef __APP_STATE_H__
#define __APP_STATE_H__

#include <golioth/client.h>

#define APP_STATE_DESIRED_ENDP "desired"
#define APP_STATE_ACTUAL_ENDP  "state"

int app_state_observe(struct golioth_client *state_client);
int app_state_update_actual(void);

#endif /* __APP_STATE_H__ */
```

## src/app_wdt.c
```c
#include "app_wdt.h"

#include <zephyr/kernel.h>
#include <zephyr/kernel/thread_stack.h>
#include <zephyr/device.h>
#include <zephyr/drivers/watchdog.h>
#include <stdbool.h>

#include <zephyr/logging/log.h>
#include <zephyr/logging/log_ctrl.h>
LOG_MODULE_REGISTER(app_wdt, LOG_LEVEL_INF);


#if DT_HAS_COMPAT_STATUS_OKAY(st_stm32_window_watchdog)
#define WDT_MAX_WINDOW  100U
#elif DT_HAS_COMPAT_STATUS_OKAY(nordic_nrf_wdt)
/* Nordic supports a callback, but it has 61.2 us to complete before
 * the reset occurs, which is too short to do anything
 * useful. Explicitly disallow use of the callback.
 */
#define WDT_ALLOW_CALLBACK 0
#elif DT_HAS_COMPAT_STATUS_OKAY(raspberrypi_pico_watchdog)
#define WDT_ALLOW_CALLBACK 0
#elif DT_HAS_COMPAT_STATUS_OKAY(gd_gd32_wwdgt)
#define WDT_MAX_WINDOW 24U
#define WDT_MIN_WINDOW 18U
#elif DT_HAS_COMPAT_STATUS_OKAY(intel_tco_wdt)
#define WDT_ALLOW_CALLBACK 0
#define WDT_MAX_WINDOW 3000U
#elif DT_HAS_COMPAT_STATUS_OKAY(nxp_fs26_wdog)
#define WDT_MAX_WINDOW  1024U
#define WDT_MIN_WINDOW	320U
#define WDT_OPT 0
#endif

#ifndef WDT_ALLOW_CALLBACK
#define WDT_ALLOW_CALLBACK 1
#endif

#ifndef WDT_MAX_WINDOW
#define WDT_MAX_WINDOW  1000U
#endif

#ifndef WDT_MIN_WINDOW
#define WDT_MIN_WINDOW  0U
#endif

#ifndef WDT_OPT
#define WDT_OPT WDT_OPT_PAUSE_HALTED_BY_DBG
#endif


#ifndef APP_WDT_PERIOD
#define APP_WDT_PERIOD  (16384U)
#endif


#ifndef APP_WDT_FEED_INTERVAL
#define APP_WDT_FEED_INTERVAL  MAX(WDT_MIN_WINDOW, MIN(APP_WDT_PERIOD,WDT_MAX_WINDOW) / 4)
#endif


#define WDT_DEVICE_NODE DT_ALIAS(watchdog0)
static const struct device *const wdt_dev = DEVICE_DT_GET(WDT_DEVICE_NODE);
static int wdt_channel_id;
static int32_t wdt_timeout = 0;


#define PROCESS_WDT_FEEDER_THREAD_STACK_SIZE 1024
#define PROCESS_WDT_FEEDER_THREAD_PRIORITY   2
static k_tid_t process_wdt_feeder_tid;
struct k_thread process_wdt_feeder_thread_data;
K_THREAD_STACK_DEFINE(process_wdt_feeder_thread_stack, PROCESS_WDT_FEEDER_THREAD_STACK_SIZE);


#if WDT_ALLOW_CALLBACK
static void wdt_callback(const struct device *wdt_dev, int channel_id)
{
	static bool handled_event;

	if (handled_event) {
		return;
	}

	wdt_feed(wdt_dev, channel_id);

	LOG_ERR("Handled WDT. Ready to reset");
	handled_event = true;
}
#endif /* WDT_ALLOW_CALLBACK */


static void reset_wdt_timeout(void)
{
    wdt_timeout = APP_WDT_PERIOD;
}


static void app_wdt_feed_thread(void *arg1, void *arg2, void *arg3)
{
	ARG_UNUSED(arg1);
	ARG_UNUSED(arg2);
	ARG_UNUSED(arg3);

    while (1) {
        if (wdt_timeout > 0) {
            LOG_DBG("Feeding watchdog...");
            wdt_feed(wdt_dev, wdt_channel_id);
            wdt_timeout -= APP_WDT_FEED_INTERVAL;
        }

        k_sleep(K_MSEC(APP_WDT_FEED_INTERVAL));
    }
}


void app_wdt_feed(void) {
    reset_wdt_timeout();
}


int app_wdt_init(void)
{
	int err;

	LOG_DBG("Watchdog init");

	if (!device_is_ready(wdt_dev)) {
		LOG_ERR("%s: device not ready", wdt_dev->name);
		return 0;
	}

	struct wdt_timeout_cfg wdt_config = {
		/* Reset SoC when watchdog timer expires. */
		.flags = WDT_FLAG_RESET_SOC,

		/* Expire watchdog after max window */
		.window.min = WDT_MIN_WINDOW,
		.window.max = WDT_MAX_WINDOW,
	};

#if WDT_ALLOW_CALLBACK
	/* Set up watchdog callback. */
	wdt_config.callback = wdt_callback;

	LOG_DBG("Attempting to setup pre-reset callback");
#else /* WDT_ALLOW_CALLBACK */
	LOG_INF("Callback in RESET_SOC disabled for this platform");
#endif /* WDT_ALLOW_CALLBACK */

	wdt_channel_id = wdt_install_timeout(wdt_dev, &wdt_config);
	if (wdt_channel_id == -ENOTSUP) {
		LOG_WRN("Callback support rejected, continuing anyway");
		wdt_config.callback = NULL;
		wdt_channel_id = wdt_install_timeout(wdt_dev, &wdt_config);
	}

	if (wdt_channel_id < 0) {
		LOG_ERR("Watchdog install error %d", wdt_channel_id);
		return wdt_channel_id;
	}

	err = wdt_setup(wdt_dev, WDT_OPT);
	if (err < 0) {
		LOG_ERR("Watchdog setup error %d", err);
		return err;
	}

    reset_wdt_timeout();

    process_wdt_feeder_tid = k_thread_create(
		&process_wdt_feeder_thread_data, process_wdt_feeder_thread_stack,
		K_THREAD_STACK_SIZEOF(process_wdt_feeder_thread_stack), app_wdt_feed_thread,
		NULL, NULL, NULL, PROCESS_WDT_FEEDER_THREAD_PRIORITY, 0, K_NO_WAIT);

	if (!process_wdt_feeder_tid) {
		LOG_ERR("Error spawning WDT feed processing thread");
	}

    return 0;
}
```

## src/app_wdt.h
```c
#ifndef APP_WDT_H
#define APP_WDT_H


void app_wdt_feed(void);

int app_wdt_init(void);

#endif // APP_WDT_H
```

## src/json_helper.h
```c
/*
 * Copyright (c) 2024 Modz, Inc.
 *
 * SPDX-License-Identifier: Apache-2.0
 */

#ifndef __JSON_HELPER_H_
#define __JSON_HELPER_H_

#include <zephyr/data/json.h>

struct app_state {
	int32_t example_int0;
	int32_t example_int1;
};

static const struct json_obj_descr app_state_descr[] = {
	JSON_OBJ_DESCR_PRIM(struct app_state, example_int0, JSON_TOK_NUMBER),
	JSON_OBJ_DESCR_PRIM(struct app_state, example_int1, JSON_TOK_NUMBER)};

#endif
```

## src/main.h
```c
/*
 * Copyright (c) 2023 Modz, Inc.
 *
 * SPDX-License-Identifier: Apache-2.0
 */

void wake_system_thread(void);
```
